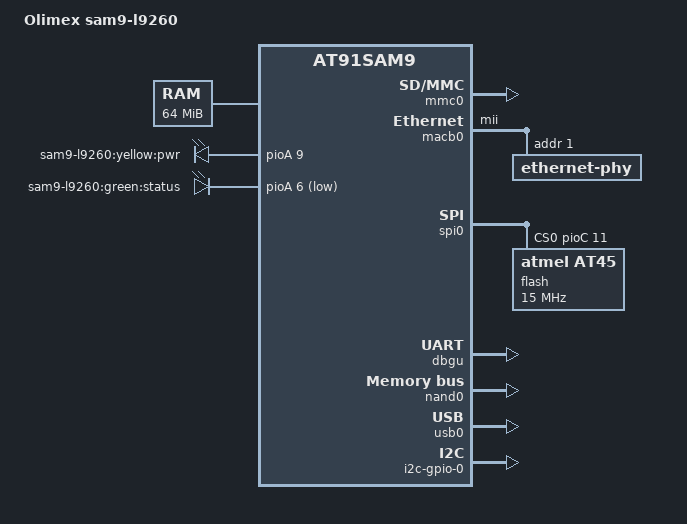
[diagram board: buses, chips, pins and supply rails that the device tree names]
// SPDX-License-Identifier: GPL-2.0-or-later
/*
 * at91-sam9_l9260.dts - Device Tree file for Olimex SAM9-L9260 board
 *
 *  Copyright (C) 2016 Raashid Muhammed <raashidmuhammed@zilogic.com>
 */
/dts-v1/;
#include "at91sam9260.dtsi"

/ {
	model = "Olimex sam9-l9260";
	compatible = "olimex,sam9-l9260", "atmel,at91sam9260", "atmel,at91sam9";

	chosen {
		stdout-path = "serial0:115200n8";
	};

	memory@20000000 {
		reg = <0x20000000 0x4000000>;
	};

	clocks {
		slow_xtal {
			clock-frequency = <32768>;
		};

		main_xtal {
			clock-frequency = <18432000>;
		};
	};

	ahb {
		apb {
			tcb0: timer@fffa0000 {
				timer@0 {
					compatible = "atmel,tcb-timer";
					reg = <0>, <1>;
				};

				timer@2 {
					compatible = "atmel,tcb-timer";
					reg = <2>;
				};
			};

			mmc0: mmc@fffa8000 {
				pinctrl-0 = <
					&pinctrl_board_mmc0
					&pinctrl_mmc0_clk
					&pinctrl_mmc0_slot1_cmd_dat0
					&pinctrl_mmc0_slot1_dat1_3>;
				pinctrl-names = "default";
				status = "okay";

				slot@1 {
					reg = <1>;
					bus-width = <4>;
					cd-gpios = <&pioC 8 GPIO_ACTIVE_HIGH>;
					wp-gpios = <&pioC 4 GPIO_ACTIVE_HIGH>;
				};
			};

			macb0: ethernet@fffc4000 {
				pinctrl-0 = <&pinctrl_macb_rmii &pinctrl_macb_rmii_mii_alt>;
				phy-mode = "mii";
				#address-cells = <1>;
				#size-cells = <0>;
				status = "okay";

				ethernet-phy@1 {
					reg = <0x1>;
				};
			};

			spi0: spi@fffc8000 {
				cs-gpios = <&pioC 11 0>, <0>, <0>, <0>;
				status = "okay";

				flash@0 {
					compatible = "atmel,at45", "atmel,dataflash";
					spi-max-frequency = <15000000>;
					reg = <0>;
				};
			};

			dbgu: serial@fffff200 {
				status = "okay";
			};

			pinctrl@fffff400 {
				mmc0 {
					pinctrl_board_mmc0: mmc0-board {
						atmel,pins =
							<AT91_PIOC 8 AT91_PERIPH_GPIO AT91_PINCTRL_PULL_UP_DEGLITCH	/* CD pin */
							 AT91_PIOC 4 AT91_PERIPH_GPIO AT91_PINCTRL_PULL_UP>;	/* WP pin */
					};
				};
			};
		};

		nand0: nand@40000000 {
			nand-bus-width = <8>;
			nand-ecc-mode = "soft";
			nand-on-flash-bbt = <1>;
			status = "okay";
		};

		usb0: ohci@500000 {
			status = "okay";
		};

	};

	i2c-gpio-0 {
		status = "okay";
	};

	leds {
		compatible = "gpio-leds";

		pwr_led {
			label = "sam9-l9260:yellow:pwr";
			gpios = <&pioA 9 GPIO_ACTIVE_HIGH>;
			linux,default-trigger = "cpu0";
		};

		status_led {
			label = "sam9-l9260:green:status";
			gpios = <&pioA 6 GPIO_ACTIVE_LOW>;
			linux,default-trigger = "timer";
		};
	};
};
